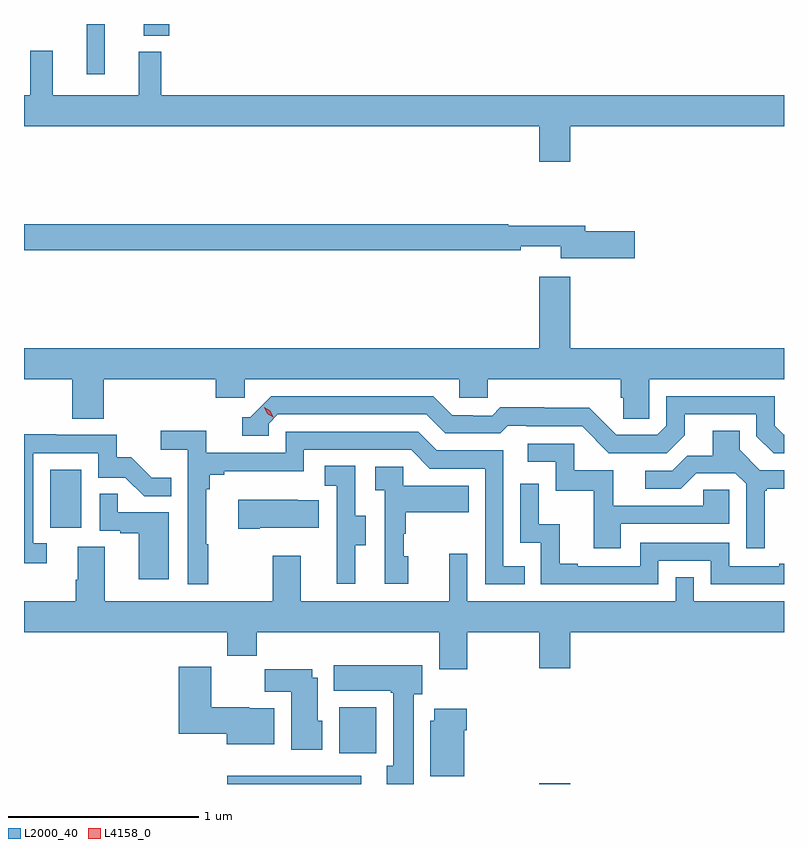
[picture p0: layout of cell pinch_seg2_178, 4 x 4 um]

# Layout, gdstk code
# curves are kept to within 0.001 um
import gdstk
lib = gdstk.Library(unit=1e-6, precision=1e-09)
def R(c, l, rs):  # rectangles x0, y0, x1, y1
    for r in rs: c.add(gdstk.rectangle(r[:2], r[2:], *l))
def P(c, l, *ps):  # polygons
    for p in ps: c.add(gdstk.Polygon(p, *l))
L2000_40 = (2000, 40)
L4158_0 = (4158, 0)

pinch_seg2_178 = lib.new_cell('pinch_seg2_178')
R(pinch_seg2_178, L2000_40, [(1098.431,640.178,1099.135,640.222), (1100.072,640.178,1100.236,640.183), (1099.019,640.34,1099.216,640.582), (1097.498,641.526,1097.662,641.833), (1097.69,643.914,1097.787,644.178), (1097.99,644.117,1098.125,644.178)])
P(pinch_seg2_178, L2000_40, [(1100.236,643.64),(1101.361,643.64),(1101.361,643.804),(1098.083,643.804),(1098.083,644.032),(1097.966,644.032),(1097.966,643.804),(1097.513,643.804),(1097.513,644.038),(1097.395,644.038),(1097.395,643.804),(1097.361,643.804),(1097.361,643.64),(1100.072,643.64),(1100.072,643.452),(1100.236,643.452)],
  [(1100.575,643.088),(1100.314,643.088),(1100.314,643.117),(1099.91,643.117),(1099.91,643.124),(1097.361,643.124),(1097.361,642.988),(1099.976,642.988),(1099.976,643.007),(1100.186,643.007),(1100.186,642.946),(1100.575,642.946)],
  [(1097.78,642.308),(1098.371,642.308),(1098.371,642.21),(1098.522,642.21),(1098.522,642.308),(1099.653,642.308),(1099.653,642.21),(1099.803,642.21),(1099.803,642.308),(1100.501,642.308),(1100.501,642.21),(1100.515,642.21),(1100.515,642.1),(1100.652,642.1),(1100.652,642.308),(1101.361,642.308),(1101.361,642.472),(1100.236,642.472),(1100.236,642.847),(1100.072,642.847),(1100.072,642.472),(1097.361,642.472),(1097.361,642.308),(1097.615,642.308),(1097.615,642.1),(1097.78,642.1)],
  [(1100.839,642.013),(1100.839,642.123),(1101.216,642.123),(1101.216,642.009),(1101.306,641.919),(1101.361,641.919),(1101.361,642.015),(1101.312,642.063),(1101.312,642.219),(1100.742,642.219),(1100.742,642.063),(1100.694,642.015),(1100.478,642.015),(1100.336,642.157),(1100.1,642.157),(1100.1,642.16),(1099.867,642.16),(1099.825,642.117),(1099.722,642.117),(1099.722,642.12),(1099.615,642.12),(1099.516,642.219),(1098.663,642.219),(1098.552,642.108),(1098.509,642.108),(1098.509,642.012),(1098.648,642.012),(1098.648,642.075),(1098.696,642.123),(1099.479,642.123),(1099.578,642.024),(1099.867,642.024),(1099.906,642.063),(1100.005,642.063),(1100.005,642.06),(1100.298,642.06),(1100.439,641.919),(1100.745,641.919)],
  [(1101.259,641.721),(1101.271,641.721),(1101.271,641.732),(1101.361,641.732),(1101.361,641.829),(1101.234,641.829),(1101.127,641.936),(1101.127,642.038),(1100.987,642.038),(1100.987,641.906),(1100.852,641.906),(1100.772,641.826),(1100.631,641.826),(1100.631,641.733),(1100.818,641.733),(1100.899,641.814),(1101.105,641.814),(1101.162,641.757),(1101.162,641.418),(1101.259,641.418)],
  [(1098.331,641.441),(1098.319,641.441),(1098.319,641.729),(1098.338,641.729),(1098.338,641.806),(1098.415,641.806),(1098.415,641.825),(1098.834,641.825),(1098.834,641.937),(1099.398,641.937),(1099.497,641.838),(1099.788,641.838),(1099.788,641.229),(1099.997,641.229),(1099.997,641.325),(1099.884,641.325),(1099.884,641.934),(1099.534,641.934),(1099.435,642.033),(1098.738,642.033),(1098.738,641.922),(1098.32,641.922),(1098.32,642.038),(1098.081,642.038),(1098.081,641.936),(1098.222,641.936),(1098.222,641.229),(1098.331,641.229)],
  [(1097.482,641.445),(1097.409,641.445),(1097.409,641.919),(1097.751,641.919),(1097.751,641.79),(1097.895,641.79),(1097.993,641.692),(1098.137,641.692),(1098.137,641.791),(1098.033,641.791),(1097.926,641.898),(1097.85,641.898),(1097.85,642.015),(1097.531,642.015),(1097.531,642.02),(1097.361,642.02),(1097.361,641.34),(1097.482,641.34)],
  [(1100.503,641.547),(1101.072,641.547),(1101.072,641.727),(1100.935,641.727),(1100.935,641.643),(1100.461,641.643),(1100.461,641.829),(1100.256,641.829),(1100.256,641.97),(1100.013,641.97),(1100.013,641.874),(1100.16,641.874),(1100.16,641.721),(1100.359,641.721),(1100.359,641.418),(1100.503,641.418)],
  [(1099.105,641.434),(1099.159,641.434),(1099.159,641.589),(1099.104,641.589),(1099.104,641.852),(1098.945,641.852),(1098.945,641.749),(1099.008,641.749),(1099.008,641.445),(1099.007,641.445),(1099.007,641.232),(1099.105,641.232)],
  [(1099.384,641.376),(1099.359,641.376),(1099.359,641.495),(1099.369,641.495),(1099.369,641.609),(1099.703,641.609),(1099.703,641.749),(1099.356,641.749),(1099.356,641.847),(1099.209,641.847),(1099.209,641.723),(1099.26,641.723),(1099.26,641.232),(1099.384,641.232)],
  [(1100.7,641.352),(1100.976,641.352),(1100.976,641.229),(1101.361,641.229),(1101.361,641.338),(1101.335,641.338),(1101.335,641.325),(1101.072,641.325),(1101.072,641.448),(1100.604,641.448),(1100.604,641.325),(1100.275,641.325),(1100.275,641.338),(1100.18,641.338),(1100.18,641.546),(1100.07,641.546),(1100.07,641.758),(1099.974,641.758),(1099.974,641.448),(1100.082,641.448),(1100.082,641.229),(1100.7,641.229)],
  [(1098.124,641.607),(1097.855,641.607),(1097.855,641.705),(1097.76,641.705),(1097.76,641.511),(1097.867,641.511),(1097.867,641.499),(1097.966,641.499),(1097.966,641.256),(1098.124,641.256)],
  [(1098.601,641.528),(1098.911,641.528),(1098.911,641.671),(1098.803,641.671),(1098.803,641.674),(1098.489,641.674),(1098.489,641.521),(1098.601,641.521)],
  [(1100.79,641.267),(1100.79,641.14),(1099.695,641.14),(1099.695,641.389),(1099.598,641.389),(1099.598,641.14),(1098.817,641.14),(1098.817,641.38),(1098.67,641.38),(1098.67,641.14),(1097.785,641.14),(1097.785,641.426),(1097.645,641.426),(1097.645,641.252),(1097.633,641.252),(1097.633,641.14),(1097.361,641.14),(1097.361,640.976),(1098.431,640.976),(1098.431,640.852),(1098.587,640.852),(1098.587,640.976),(1099.547,640.976),(1099.547,640.782),(1099.695,640.782),(1099.695,640.976),(1100.072,640.976),(1100.072,640.788),(1100.236,640.788),(1100.236,640.976),(1101.361,640.976),(1101.361,641.14),(1100.886,641.14),(1100.886,641.267)],
  [(1099.411,640.65),(1099.456,640.65),(1099.456,640.804),(1098.992,640.804),(1098.992,640.67),(1099.291,640.67),(1099.291,640.657),(1099.304,640.657),(1099.304,640.274),(1099.271,640.274),(1099.271,640.178),(1099.411,640.178)],
  [(1098.679,640.576),(1098.546,640.576),(1098.546,640.582),(1098.346,640.582),(1098.346,640.795),(1098.176,640.795),(1098.176,640.442),(1098.428,640.442),(1098.428,640.388),(1098.679,640.388)],
  [(1098.931,640.512),(1098.907,640.512),(1098.907,640.738),(1098.877,640.738),(1098.877,640.783),(1098.628,640.783),(1098.628,640.664),(1098.767,640.664),(1098.767,640.358),(1098.931,640.358)],
  [(1099.678,640.46),(1099.691,640.46),(1099.691,640.573),(1099.52,640.573),(1099.52,640.512),(1099.499,640.512),(1099.499,640.22),(1099.678,640.22)])
P(pinch_seg2_178, L4158_0, [(1098.672,642.109),(1098.641,642.128),(1098.625,642.161),(1098.625,642.161),(1098.625,642.161),(1098.656,642.142),(1098.672,642.109),(1098.672,642.109)])

lib.write_gds('pinch_seg2_178.gds')
